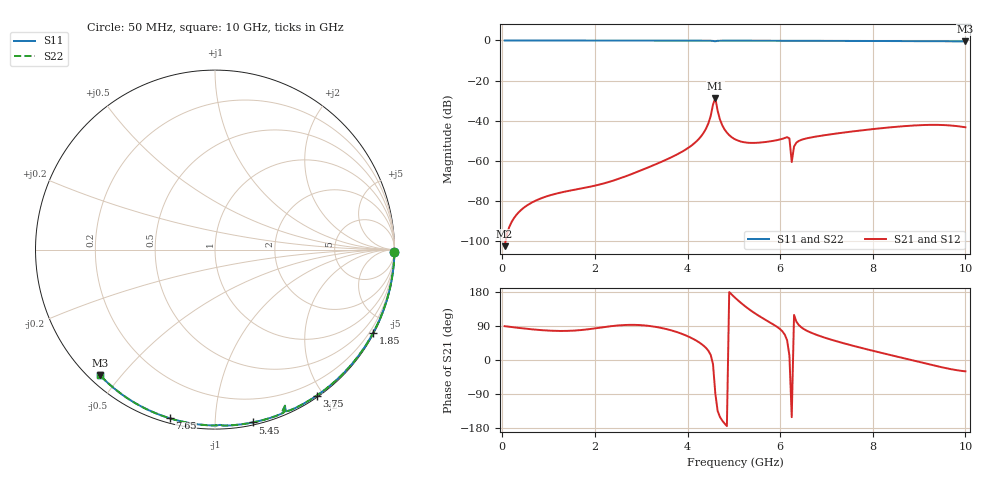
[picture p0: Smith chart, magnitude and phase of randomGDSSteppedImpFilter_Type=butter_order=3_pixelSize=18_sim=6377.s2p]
! freq	dB(S11)	phase(S11)	dB(S12)	phase(S12)
!  dB(S21)	phase(S21)	dB(S22)	phase(S22)
!S-par simulation data
#  GHz  S  DB  R 50
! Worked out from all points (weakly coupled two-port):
!   200 points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, 50 MHz to 10 GHz, reference 50 ohm
!   highest |S21| = -28.73 dB at 4.6 GHz (marker M1); lowest = -102.5 dB at 50 MHz (marker M2)
!   lowest |S11| = -0.5 dB at 10 GHz (marker M3), VSWR 38.11, Z = 1.57 - j22 ohm
!   |S11| at or under -10 dB: nowhere
!   |S22| runs from -0.5 to 0.0 dB; largest |S21 - S12| = 0
!   S11 on the Smith chart (normalised r, x): 50 MHz: open; 1.85 GHz: 0.04, -4.03; 3.75 GHz: 0.02, -1.92; 5.45 GHz: 0.02, -1.24; 7.65 GHz: 0.02, -0.77; 10 GHz: 0.03, -0.44
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0.05  -0.00 -0.8  -102.54 89.3  -102.54 89.3  -0.00 -0.8
0.7  -0.01 -10.7  -80.06 80.3  -80.06 80.3  -0.01 -10.7
1.75  -0.03 -26.4  -73.58 79.6  -73.58 79.6  -0.03 -26.4
1.85  -0.04 -27.8  -73.12 81.0  -73.12 81.0  -0.04 -27.9
3.4  -0.07 -50.2  -60.86 85.5  -60.86 85.5  -0.07 -50.2
3.75  -0.07 -55.1  -57.11 74.5  -57.11 74.5  -0.07 -55.2
4.35  -0.09 -63.6  -45.94 37.4  -45.94 37.4  -0.09 -63.6
4.45  -0.11 -65.1  -41.32 24.5  -41.32 24.5  -0.11 -65.2
4.6  -0.41 -65.8  -28.73 -88.4  -28.73 -88.4  -0.42 -65.8
4.65  -0.17 -66.4  -35.06 -134.5  -35.06 -134.5  -0.17 -66.4
4.75  -0.12 -68.2  -42.28 -159.9  -42.28 -159.9  -0.12 -68.2
5.05  -0.11 -72.5  -49.52 161.7  -49.52 161.7  -0.11 -72.5
5.45  -0.13 -77.7  -51.06 123.6  -51.06 123.6  -0.13 -77.8
6.15  -0.16 -86.8  -48.20 52.2  -48.20 52.2  -0.16 -86.8
6.2  -0.17 -87.5  -48.84 11.7  -48.84 11.7  -0.17 -87.5
6.25  -0.20 -88.1  -60.60 -150.9  -60.60 -150.9  -0.20 -88.1
6.3  -0.20 -88.5  -52.87 119.0  -52.87 119.0  -0.20 -88.5
6.35  -0.19 -89.1  -50.94 101.3  -50.94 101.3  -0.19 -89.1
6.7  -0.18 -93.5  -48.21 70.5  -48.21 70.5  -0.18 -93.5
7.65  -0.24 -105.0  -45.11 35.1  -45.11 35.1  -0.24 -105.0
8.35  -0.29 -113.3  -43.37 14.0  -43.37 14.0  -0.29 -113.3
10  -0.46 -132.5  -43.26 -29.9  -43.26 -29.9  -0.46 -132.5
